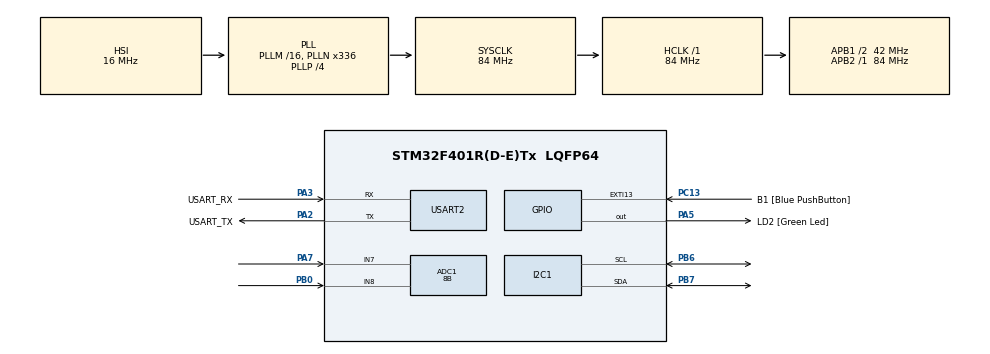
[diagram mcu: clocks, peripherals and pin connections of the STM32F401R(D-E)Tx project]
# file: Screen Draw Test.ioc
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ADC1.Channel-0\#ChannelRegularConversion=ADC_CHANNEL_8
ADC1.ContinuousConvMode=ENABLE
ADC1.EnableAnalogWatchDog=true
ADC1.NbrOfConversionFlag=1
ADC1.Rank-0\#ChannelRegularConversion=1
ADC1.Resolution=ADC_RESOLUTION_8B
ADC1.SamplingTime-0\#ChannelRegularConversion=ADC_SAMPLETIME_3CYCLES
ADC1.WatchdogChannel=ADC_CHANNEL_8
ADC1.master=1
I2C1.I2C_Mode=I2C_Fast
I2C1.OwnAddress=0x40
Mcu.Family=STM32F4
Mcu.Name=STM32F401R(D-E)Tx
Mcu.Package=LQFP64
NVIC.PriorityGroup=NVIC_PRIORITYGROUP_4
PA13.GPIO_Label=TMS
PA13.Mode=Trace_Asynchronous_SW
PA13.Signal=SYS_JTMS-SWDIO
PA14.GPIO_Label=TCK
PA14.Mode=Trace_Asynchronous_SW
PA14.Signal=SYS_JTCK-SWCLK
PA2.GPIO_Label=USART_TX
PA2.GPIO_Mode=GPIO_MODE_AF_PP
PA2.GPIO_PuPd=GPIO_NOPULL
PA2.GPIO_Speed=GPIO_SPEED_FREQ_LOW
PA2.Mode=Asynchronous
PA2.Signal=USART2_TX
PA3.GPIO_Label=USART_RX
PA3.GPIO_Mode=GPIO_MODE_AF_PP
PA3.GPIO_PuPd=GPIO_NOPULL
PA3.GPIO_Speed=GPIO_SPEED_FREQ_LOW
PA3.Mode=Asynchronous
PA3.Signal=USART2_RX
PA5.GPIO_Label=LD2 [Green Led]
PA5.GPIO_Mode=GPIO_MODE_OUTPUT_PP
PA5.GPIO_PuPd=GPIO_NOPULL
PA5.GPIO_Speed=GPIO_SPEED_FREQ_LOW
PA5.Signal=GPIO_Output
PA7.Signal=ADCx_IN7
PB0.Signal=ADCx_IN8
PB3.GPIO_Label=SWO
PB3.Mode=Trace_Asynchronous_SW
PB3.Signal=SYS_JTDO-SWO
PB6.GPIO_Mode=GPIO_MODE_AF_OD
PB6.GPIO_Pu=GPIO_NOPULL
PB6.GPIO_Speed=GPIO_SPEED_FREQ_VERY_HIGH
PB6.Mode=I2C
PB6.Signal=I2C1_SCL
PB7.GPIO_Mode=GPIO_MODE_AF_OD
PB7.GPIO_Pu=GPIO_NOPULL
PB7.GPIO_Speed=GPIO_SPEED_FREQ_VERY_HIGH
PB7.Mode=I2C
PB7.Signal=I2C1_SDA
PC13-ANTI_TAMP.GPIO_Label=B1 [Blue PushButton]
PC13-ANTI_TAMP.GPIO_ModeDefaultEXTI=GPIO_MODE_IT_FALLING
PC13-ANTI_TAMP.GPIO_PuPd=GPIO_NOPULL
PC13-ANTI_TAMP.Signal=GPXTI13
PC14-OSC32_IN.Mode=LSE-External-Oscillator
PC14-OSC32_IN.Signal=RCC_OSC32_IN
PC15-OSC32_OUT.Mode=LSE-External-Oscillator
PC15-OSC32_OUT.Signal=RCC_OSC32_OUT
PH0\ -\ OSC_IN.Mode=HSE-External-Clock-Source
PH0\ -\ OSC_IN.Signal=RCC_OSC_IN
PH1\ -\ OSC_OUT.Mode=HSE-External-Clock-Source
PH1\ -\ OSC_OUT.Signal=RCC_OSC_OUT
ProjectManager.HeapSize=0x200
ProjectManager.StackSize=0x400
ProjectManager.TargetToolchain=STM32CubeIDE
RCC.48MHZClocksFreq_Value=48000000
RCC.AHBFreq_Value=84000000
RCC.APB1CLKDivider=RCC_HCLK_DIV2
RCC.APB1Freq_Value=42000000
RCC.APB1TimFreq_Value=84000000
RCC.APB2Freq_Value=84000000
RCC.APB2TimFreq_Value=84000000
RCC.CortexFreq_Value=84000000
RCC.HCLKFreq_Value=84000000
RCC.HSE_VALUE=8000000
RCC.HSI_VALUE=16000000
RCC.PLLN=336
RCC.PLLP=RCC_PLLP_DIV4
RCC.PLLQ=7
RCC.SYSCLKFreq_VALUE=84000000
RCC.SYSCLKSource=RCC_SYSCLKSOURCE_PLLCLK
RCC.VCOOutputFreq_Value=336000000
SH.ADCx_IN7.0=ADC1_IN7,IN7
SH.ADCx_IN8.0=ADC1_IN8,IN8
USART2.VirtualMode=VM_ASYNC
board=NUCLEO-F401RE

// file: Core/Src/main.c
/* USER CODE BEGIN Header */
/**
 ******************************************************************************
 * @file           : main.c
 * @brief          : Main program body
 ******************************************************************************
 * @attention
 *
 * Copyright (c) 2025 STMicroelectronics.
 * All rights reserved.
 *
 * This software is licensed under terms that can be found in the LICENSE file
 * in the root directory of this software component.
 * If no LICENSE file comes with this software, it is provided AS-IS.
 *
 ******************************************************************************
 */
/* USER CODE END Header */
#include "main.h"

/* USER CODE BEGIN Includes */

#include "string.h"
#include "ssd_1306.h"
/* USER CODE END Includes */

ADC_HandleTypeDef hadc1;

I2C_HandleTypeDef hi2c1;

UART_HandleTypeDef huart2;

/* USER CODE BEGIN PV */
#define DISPLAY_X_SIZE 128
#define DISPLAY_Y_SIZE 64

/* USER CODE END PV */

void SystemClock_Config(void);
static void MX_GPIO_Init(void);
static void MX_USART2_UART_Init(void);
static void MX_I2C1_Init(void);
static void MX_ADC1_Init(void);
/* USER CODE BEGIN PFP */
void Put_Pixel(uint8_t SSD1306_FrameBufferPages[128][8], uint8_t x, uint8_t y,
		uint8_t bit);
/* USER CODE END PFP */

int main(void) {

	/* MCU Configuration--------------------------------------------------------*/

	/* Reset of all peripherals, Initializes the Flash interface and the Systick. */
	HAL_Init();

	/* USER CODE BEGIN Init */
	//a buffer of the current view on the screen
	//each bit corresponds to a VERTICAL section of 8 (single bit) pixels
	uint8_t SSD1306_FrameBufferPages[128][8] = { { } };

	/* USER CODE END Init */

	/* Configure the system clock */
	SystemClock_Config();

	/* Initialize all configured peripherals */
	MX_GPIO_Init();
	MX_USART2_UART_Init();
	MX_I2C1_Init();
	MX_ADC1_Init();
	/* USER CODE BEGIN 2 */
	I2C_SSD1306_Screen_Init(&hi2c1);
	if (HAL_ADC_Start(&hadc1) != HAL_OK) {
		Error_Handler();
	}

	uint32_t value_adc;

	/* USER CODE END 2 */

	/* Infinite loop */
	while (1) {

		/* USER CODE BEGIN 3 */
		memset(&SSD1306_FrameBufferPages, 0, 1024);
		value_adc = HAL_ADC_GetValue(&hadc1);

		if (HAL_ADC_Start(&hadc1) != HAL_OK) {
			Error_Handler();
		}
		uint8_t corrected_adc_value = (0b11111111 & value_adc) / 4;

		for (int x = 0; x < 128; x++) {
			for (int y = 0; y < 64; y++) {
				uint8_t is_greater = 0;
				if (y < corrected_adc_value) {
					is_greater = 1;
				}
				Put_Pixel(SSD1306_FrameBufferPages, x, y, is_greater);
			}
		}

		I2C_SSD1306_Update_Whole_Display(SSD1306_FrameBufferPages);

		continue;

	}
	/* USER CODE END 3 */
}

void SystemClock_Config(void) {
	RCC_OscInitTypeDef RCC_OscInitStruct = { 0 };
	RCC_ClkInitTypeDef RCC_ClkInitStruct = { 0 };

	/** Configure the main internal regulator output voltage
	 */
	__HAL_RCC_PWR_CLK_ENABLE();
	__HAL_PWR_VOLTAGESCALING_CONFIG(PWR_REGULATOR_VOLTAGE_SCALE2);

	/** Initializes the RCC Oscillators according to the specified parameters
	 * in the RCC_OscInitTypeDef structure.
	 */
	RCC_OscInitStruct.OscillatorType = RCC_OSCILLATORTYPE_HSI;
	RCC_OscInitStruct.HSIState = RCC_HSI_ON;
	RCC_OscInitStruct.HSICalibrationValue = RCC_HSICALIBRATION_DEFAULT;
	RCC_OscInitStruct.PLL.PLLState = RCC_PLL_ON;
	RCC_OscInitStruct.PLL.PLLSource = RCC_PLLSOURCE_HSI;
	RCC_OscInitStruct.PLL.PLLM = 16;
	RCC_OscInitStruct.PLL.PLLN = 336;
	RCC_OscInitStruct.PLL.PLLP = RCC_PLLP_DIV4;
	RCC_OscInitStruct.PLL.PLLQ = 7;
	if (HAL_RCC_OscConfig(&RCC_OscInitStruct) != HAL_OK) {
		Error_Handler();
	}

	/** Initializes the CPU, AHB and APB buses clocks
	 */
	RCC_ClkInitStruct.ClockType = RCC_CLOCKTYPE_HCLK | RCC_CLOCKTYPE_SYSCLK
			| RCC_CLOCKTYPE_PCLK1 | RCC_CLOCKTYPE_PCLK2;
	RCC_ClkInitStruct.SYSCLKSource = RCC_SYSCLKSOURCE_PLLCLK;
	RCC_ClkInitStruct.AHBCLKDivider = RCC_SYSCLK_DIV1;
	RCC_ClkInitStruct.APB1CLKDivider = RCC_HCLK_DIV2;
	RCC_ClkInitStruct.APB2CLKDivider = RCC_HCLK_DIV1;

	if (HAL_RCC_ClockConfig(&RCC_ClkInitStruct, FLASH_LATENCY_2) != HAL_OK) {
		Error_Handler();
	}
}

static void MX_ADC1_Init(void) {

	ADC_AnalogWDGConfTypeDef AnalogWDGConfig = { 0 };
	ADC_ChannelConfTypeDef sConfig = { 0 };

	/** Configure the global features of the ADC (Clock, Resolution, Data Alignment and number of conversion)
	 */
	hadc1.Instance = ADC1;
	hadc1.Init.ClockPrescaler = ADC_CLOCK_SYNC_PCLK_DIV4;
	hadc1.Init.Resolution = ADC_RESOLUTION_8B;
	hadc1.Init.ScanConvMode = DISABLE;
	hadc1.Init.ContinuousConvMode = ENABLE;
	hadc1.Init.DiscontinuousConvMode = DISABLE;
	hadc1.Init.ExternalTrigConvEdge = ADC_EXTERNALTRIGCONVEDGE_NONE;
	hadc1.Init.ExternalTrigConv = ADC_SOFTWARE_START;
	hadc1.Init.DataAlign = ADC_DATAALIGN_RIGHT;
	hadc1.Init.NbrOfConversion = 1;
	hadc1.Init.DMAContinuousRequests = DISABLE;
	hadc1.Init.EOCSelection = ADC_EOC_SINGLE_CONV;
	if (HAL_ADC_Init(&hadc1) != HAL_OK) {
		Error_Handler();
	}

	/** Configure the analog watchdog
	 */
	AnalogWDGConfig.WatchdogMode = ADC_ANALOGWATCHDOG_SINGLE_REG;
	AnalogWDGConfig.HighThreshold = 0;
	AnalogWDGConfig.LowThreshold = 0;
	AnalogWDGConfig.Channel = ADC_CHANNEL_8;
	AnalogWDGConfig.ITMode = DISABLE;
	if (HAL_ADC_AnalogWDGConfig(&hadc1, &AnalogWDGConfig) != HAL_OK) {
		Error_Handler();
	}

	/** Configure for the selected ADC regular channel its corresponding rank in the sequencer and its sample time.
	 */
	sConfig.Channel = ADC_CHANNEL_8;
	sConfig.Rank = 1;
	sConfig.SamplingTime = ADC_SAMPLETIME_3CYCLES;
	if (HAL_ADC_ConfigChannel(&hadc1, &sConfig) != HAL_OK) {
		Error_Handler();
	}

}

static void MX_I2C1_Init(void) {

	hi2c1.Instance = I2C1;
	hi2c1.Init.ClockSpeed = 400000;
	hi2c1.Init.DutyCycle = I2C_DUTYCYCLE_2;
	hi2c1.Init.OwnAddress1 = 128;
	hi2c1.Init.AddressingMode = I2C_ADDRESSINGMODE_7BIT;
	hi2c1.Init.DualAddressMode = I2C_DUALADDRESS_DISABLE;
	hi2c1.Init.OwnAddress2 = 0;
	hi2c1.Init.GeneralCallMode = I2C_GENERALCALL_DISABLE;
	hi2c1.Init.NoStretchMode = I2C_NOSTRETCH_DISABLE;
	if (HAL_I2C_Init(&hi2c1) != HAL_OK) {
		Error_Handler();
	}

}

static void MX_USART2_UART_Init(void) {

	huart2.Instance = USART2;
	huart2.Init.BaudRate = 115200;
	huart2.Init.WordLength = UART_WORDLENGTH_8B;
	huart2.Init.StopBits = UART_STOPBITS_1;
	huart2.Init.Parity = UART_PARITY_NONE;
	huart2.Init.Mode = UART_MODE_TX_RX;
	huart2.Init.HwFlowCtl = UART_HWCONTROL_NONE;
	huart2.Init.OverSampling = UART_OVERSAMPLING_16;
	if (HAL_UART_Init(&huart2) != HAL_OK) {
		Error_Handler();
	}

}

static void MX_GPIO_Init(void) {
	GPIO_InitTypeDef GPIO_InitStruct = { 0 };

	/* GPIO Ports Clock Enable */
	__HAL_RCC_GPIOC_CLK_ENABLE();
	__HAL_RCC_GPIOH_CLK_ENABLE();
	__HAL_RCC_GPIOA_CLK_ENABLE();
	__HAL_RCC_GPIOB_CLK_ENABLE();

	/*Configure GPIO pin Output Level */
	HAL_GPIO_WritePin(LD2_GPIO_Port, LD2_Pin, GPIO_PIN_RESET);

	/*Configure GPIO pin : B1_Pin */
	GPIO_InitStruct.Pin = B1_Pin;
	GPIO_InitStruct.Mode = GPIO_MODE_IT_FALLING;
	GPIO_InitStruct.Pull = GPIO_NOPULL;
	HAL_GPIO_Init(B1_GPIO_Port, &GPIO_InitStruct);

	/*Configure GPIO pin : LD2_Pin */
	GPIO_InitStruct.Pin = LD2_Pin;
	GPIO_InitStruct.Mode = GPIO_MODE_OUTPUT_PP;
	GPIO_InitStruct.Pull = GPIO_NOPULL;
	GPIO_InitStruct.Speed = GPIO_SPEED_FREQ_LOW;
	HAL_GPIO_Init(LD2_GPIO_Port, &GPIO_InitStruct);

}

/* USER CODE BEGIN 4 */

//simple function to be able to place a pixel in a 128x64 grid, from the buffer pages
//
void Put_Pixel(uint8_t SSD1306_FrameBufferPages[128][8], uint8_t x, uint8_t y,
		uint8_t bit) {
	uint8_t page = y / 8;
	SSD1306_FrameBufferPages[x][page] |= bit << (y - (page * 8));
}

/* USER CODE END 4 */

void Error_Handler(void) {
	__disable_irq();
	while (1) {
	}
}
